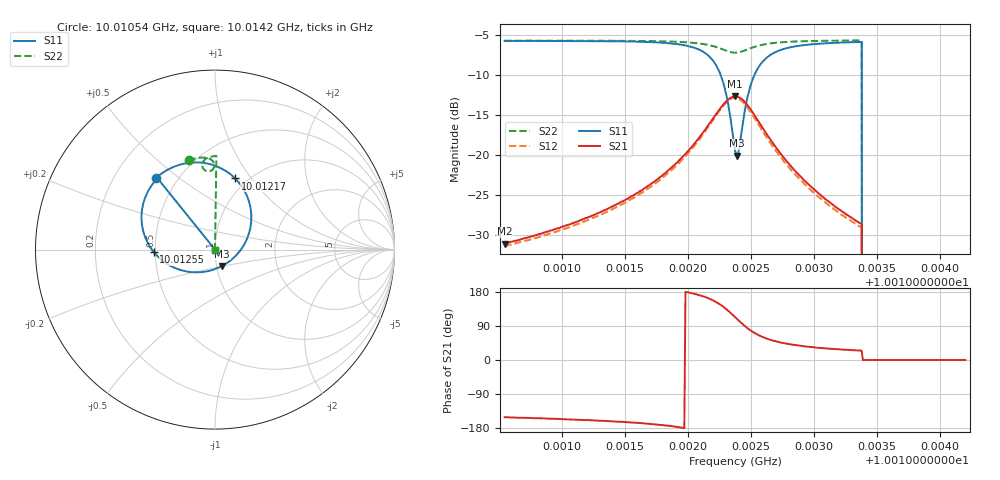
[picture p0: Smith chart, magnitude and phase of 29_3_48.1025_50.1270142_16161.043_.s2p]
#  HZ  S  RI  R  50.00
! Rohde & Schwarz Vector Network Analyzer
! Rohde-Schwarz,ZNB20-2Port,1311601062101988,3.16
! Created: UTC 12/23/2023, 3:37:29 AM
! freq[Hz]  re:S11  im:S11  re:S21  im:S21  re:S12  im:S12  re:S22  im:S22
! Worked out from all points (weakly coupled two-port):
!   401 points, 10.01054 GHz to 10.0142 GHz, reference 50 ohm
!   highest |S21| = -12.65 dB at 10.01237 GHz (marker M1); lowest = -31.0 dB at 10.01054 GHz (marker M2)
!   lowest |S11| = -20.0 dB at 10.01239 GHz (marker M3), VSWR 1.22, Z = 53.3 - j9.79 ohm
!   |S11| at or under -10 dB: 10.01226 GHz to 10.01253 GHz (266.7 kHz wide, 0.00266 % of centre); 10.01338 GHz to end of sweep
!   |S22| runs from - to -5.7 dB; largest |S21 - S12| = 0.011
!   S11 on the Smith chart (normalised r, x): 10.01054 GHz: 0.38, +0.41; 10.01217 GHz: 0.88, +0.84; 10.01255 GHz: 0.49, -0.02; 10.0142 GHz: 1.00, +0.00
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1.0010545e10  -0.3312 0.3984  -0.0246 -0.0135  -0.023 -0.0144  -0.147 0.4984
1.0011158e10  -0.2741 0.4391  -0.0368 -0.0147  -0.0346 -0.0158  -0.1052 0.5089
1.0011487e10  -0.2254 0.4628  -0.0497 -0.0148  -0.0471 -0.0168  -0.0803 0.5124
1.0011771e10  -0.1548 0.4822  -0.0711 -0.0116  -0.0678 -0.015  -0.0554 0.5127
1.0012036e10  -0.0183 0.4737  -0.114 0.0078  -0.1108 0.00135  -0.0255 0.5043
1.0012173e10  0.1124 0.3964  -0.1504 0.0504  -0.1491 0.0414  -0.00823 0.4868
1.0012237e10  0.1774 0.3008  -0.1625 0.0925  -0.1639 0.0821  -0.00402 0.4711
1.0012283e10  0.2022 0.1939  -0.1602 0.1335  -0.1633 0.1238  -0.00651 0.4567
1.0012329e10  0.1798 0.0637  -0.1375 0.1793  -0.142 0.1707  -0.0168 0.4431
1.0012374e10  0.0917 -0.0564  -0.0922 0.2142  -0.0976 0.2068  -0.0341 0.4361
1.0012393e10  0.0403 -0.091  -0.0703 0.2214  -0.0752 0.2143  -0.0419 0.4362
1.0012411e10  -0.016 -0.114  -0.0477 0.2241  -0.052 0.2175  -0.0491 0.4381
1.0012475e10  -0.2066 -0.109  0.0234 0.2037  0.0166 0.1975  -0.067 0.454
1.0012512e10  -0.2867 -0.0659  0.0489 0.1803  0.0418 0.1748  -0.0705 0.4652
1.0012548e10  -0.3411 -0.0138  0.0633 0.1565  0.0566 0.1512  -0.0706 0.4756
1.0012631e10  -0.3983 0.0972  0.0752 0.111  0.0681 0.1081  -0.064 0.4925
1.001274e10  -0.4086 0.2022  0.0707 0.0728  0.0645 0.0722  -0.0515 0.5054
1.0012987e10  -0.3751 0.3211  0.0521 0.0352  0.048 0.0354  -0.0254 0.5168
1.0013362e10  -0.3228 0.395  0.0343 0.016  0.0319 0.0169  0.00637 0.5215
1.0013408e10  0 0  0 0  0 0  0 0
1.00136e10  0 0  0 0  0 0  0 0
1.0014204e10  0 0  0 0  0 0  0 0
